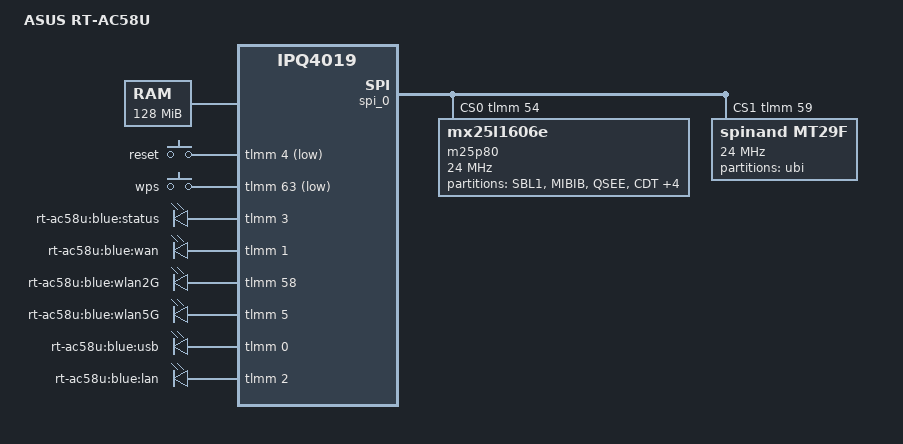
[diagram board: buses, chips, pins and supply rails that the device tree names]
/* Copyright (c) 2015, The Linux Foundation. All rights reserved.
 *
 * Permission to use, copy, modify, and/or distribute this software for any
 * purpose with or without fee is hereby granted, provided that the above
 * copyright notice and this permission notice appear in all copies.
 *
 * THE SOFTWARE IS PROVIDED "AS IS" AND THE AUTHOR DISCLAIMS ALL WARRANTIES
 * WITH REGARD TO THIS SOFTWARE INCLUDING ALL IMPLIED WARRANTIES OF
 * MERCHANTABILITY AND FITNESS. IN NO EVENT SHALL THE AUTHOR BE LIABLE FOR
 * ANY SPECIAL, DIRECT, INDIRECT, OR CONSEQUENTIAL DAMAGES OR ANY DAMAGES
 * WHATSOEVER RESULTING FROM LOSS OF USE, DATA OR PROFITS, WHETHER IN AN
 * ACTION OF CONTRACT, NEGLIGENCE OR OTHER TORTIOUS ACTION, ARISING OUT OF
 * OR IN CONNECTION WITH THE USE OR PERFORMANCE OF THIS SOFTWARE.
 *
 */

#include "qcom-ipq4019-ap.dk01.1.dtsi"
#include "qcom-ipq4019-bus.dtsi"
#include <dt-bindings/gpio/gpio.h>
#include <dt-bindings/input/input.h>

/ {
	model = "ASUS RT-AC58U";
	compatible = "asus,rt-ac58u", "qcom,ipq4019";

	memory {
		device_type = "memory";
		reg = <0x80000000 0x8000000>;
	};

	aliases {
		led-boot = &power;
		led-failsafe = &power;
		led-running = &power;
		led-upgrade = &power;
	};

	reserved-memory {
		#address-cells = <0x1>;
		#size-cells = <0x1>;
		ranges;

		rsvd1@87E00000 {
			reg = <0x87e00000 0x200000>;
			no-map;
		};
	};

	gpio-keys {
		compatible = "gpio-keys";

		reset {
			label = "reset";
			gpios = <&tlmm 4 GPIO_ACTIVE_LOW>;
			linux,code = <KEY_RESTART>;
		};

		wps {
			label = "wps";
			gpios = <&tlmm 63 GPIO_ACTIVE_LOW>;
			linux,code = <KEY_WPS_BUTTON>;
		};
	};

	gpio-leds {
		compatible = "gpio-leds";

		power: status {
			label = "rt-ac58u:blue:status";
			gpios = <&tlmm 3 GPIO_ACTIVE_HIGH>;
		};

		wan {
			label = "rt-ac58u:blue:wan";
			gpios = <&tlmm 1 GPIO_ACTIVE_HIGH>;
		};

		wlan2G {
			label = "rt-ac58u:blue:wlan2G";
			gpios = <&tlmm 58 GPIO_ACTIVE_HIGH>;
		};

		wan5G {
			label = "rt-ac58u:blue:wlan5G";
			gpios = <&tlmm 5 GPIO_ACTIVE_HIGH>;
		};

		usb {
			label = "rt-ac58u:blue:usb";
			gpios = <&tlmm 0 GPIO_ACTIVE_HIGH>;
		};

		lan {
			label = "rt-ac58u:blue:lan";
			gpios = <&tlmm 2 GPIO_ACTIVE_HIGH>;
		};
	};
};

&spi_0_pins {
	pinmux_cs {
		function = "gpio";
		pins = "gpio54", "gpio59";
	};
	pinconf_cs {
		pins = "gpio54", "gpio59";
		drive-strength = <2>;
		bias-disable;
		output-high;
	};
};

&spi_0 { /* BLSP1 QUP1 */
	cs-gpios = <&tlmm 54 0>,
		   <&tlmm 59 0>;

	m25p80@0 {
		#address-cells = <1>;
		#size-cells = <0>;
		/*
		 * U-boot looks for "n25q128a11" node,
		 * if we don't have it, it will spit out the following warning:
		 * "ipq: fdt fixup unable to find compatible node".
		 */
		compatible = "mx25l1606e", "n25q128a11";
		reg = <0>;
		linux,modalias = "m25p80", "mx25l1606e", "n25q128a11";
		spi-max-frequency = <24000000>;

		partitions {
			compatible = "fixed-partitions";
			#address-cells = <1>;
			#size-cells = <1>;

			partition0@0 {
				label = "SBL1";
				reg = <0x00000000 0x00040000>;
				read-only;
			};
			partition1@40000 {
				label = "MIBIB";
				reg = <0x00040000 0x00020000>;
				read-only;
			};
			partition2@60000 {
				label = "QSEE";
				reg = <0x00060000 0x00060000>;
				read-only;
			};
			partition3@c0000 {
				label = "CDT";
				reg = <0x000c0000 0x00010000>;
				read-only;
			};
			partition4@d0000 {
				label = "DDRPARAMS";
				reg = <0x000d0000 0x00010000>;
				read-only;
			};
			partition5@e0000 {
				label = "APPSBLENV"; /* uboot env*/
				reg = <0x000e0000 0x00010000>;
				read-only;
			};
			partition5@f0000 {
				label = "APPSBL"; /* uboot */
				reg = <0x000f0000 0x00080000>;
				read-only;
			};
			partition5@170000 {
				label = "ART";
				reg = <0x00170000 0x00010000>;
				read-only;
			};
			/* 0x00180000 - 0x00200000 unused */
		};
	};

	mt29f@1 {
		#address-cells = <1>;
		#size-cells = <0>;
		compatible = "spinand,mt29f", "w25n01gv";
		reg = <1>;
		spi-max-frequency = <24000000>;

		partitions {
			compatible = "fixed-partitions";
			#address-cells = <1>;
			#size-cells = <1>;

			partition0@0 {
				label = "ubi";
				reg = <0x00000000 0x08000000>;
			};
		};
	};
};
